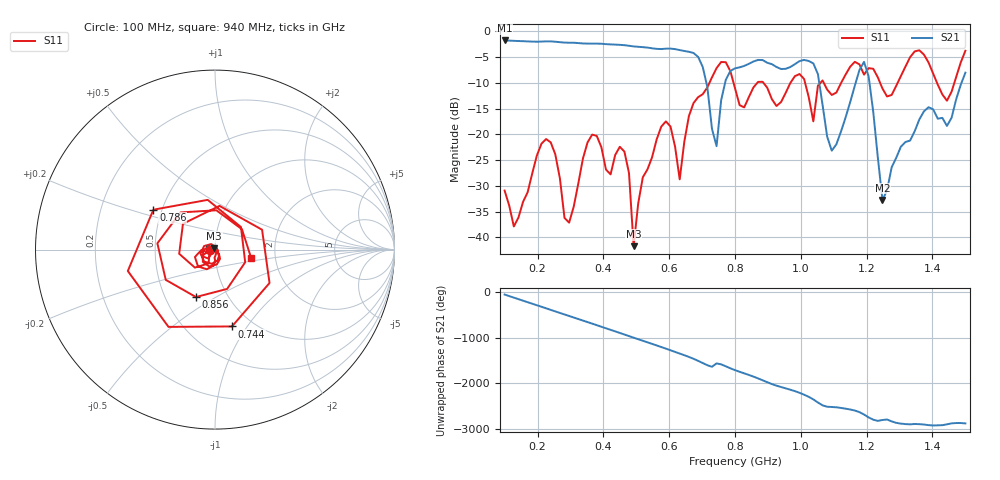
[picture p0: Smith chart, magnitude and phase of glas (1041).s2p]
! NanoVNA-App
! Date: 2025-09-25 16:03:34
! Start: 100MHz Stop: 1,5GHz Points: 101
! S-Parameter data: F S11 S21 S12 S22
# Hz S RI R 50
!  Frequency  S11_Real  S11_Imag  S21_Real  S21_Imag  S12_Real  S12_Imag  S22_Real  S22_Imag
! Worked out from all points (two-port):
!   101 points, 100 MHz to 1.5 GHz, reference 50 ohm
!   highest |S21| = -1.80 dB at 100 MHz (marker M1); lowest = -32.7 dB at 1.248 GHz (marker M2)
!   |S21| within 3 dB of the highest: start of sweep to 684.4 MHz
!   lowest |S11| = -41.7 dB at 492 MHz (marker M3), VSWR 1.02, Z = 49.5 + j0.65 ohm
!   |S11| at or under -10 dB: start of sweep to 722.6 MHz; 795.5 MHz to 867.9 MHz (72.42 MHz wide, 8.71 % of centre); 886.2 MHz to 968.6 MHz (82.43 MHz wide, 8.89 % of centre) (the widest 3 of 7)
!   S12 and S22 are empty: the file has one direction only
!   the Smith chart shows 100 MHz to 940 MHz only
!   S11 on the Smith chart (normalised r, x): 100 MHz: 0.94, -0.01; 744 MHz: 0.81, -0.85; 786 MHz: 0.45, +0.24; 856 MHz: 0.71, -0.41; 940 MHz: 1.49, -0.14
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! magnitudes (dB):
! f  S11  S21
! 100 MHz  -30.9  -1.8
! 128 MHz  -37.9  -1.9
! 226 MHz  -20.9  -2.0
! 296 MHz  -37.1  -2.2
! 338 MHz  -24.7  -2.4
! 464 MHz  -23.4  -2.7
! 492 MHz  -41.7  -3.0
! 576 MHz  -18.5  -3.5
! 632 MHz  -28.7  -3.7
! 702 MHz  -12.2  -6.9
! 744 MHz  -7.2  -22.3
! 786 MHz  -7.8  -7.7
! 800 MHz  -11.1  -7.2
! 856 MHz  -10.9  -5.9
! 940 MHz  -13.7  -7.3
! 996 MHz  -8.3  -5.8
! 1.038 GHz  -17.5  -6.2
! 1.094 GHz  -12.4  -23.2
! 1.192 GHz  -8.4  -5.9
! 1.248 GHz  -11.1  -32.7
! 1.276 GHz  -12.4  -26.4
! 1.5 GHz  -3.8  -8.0
